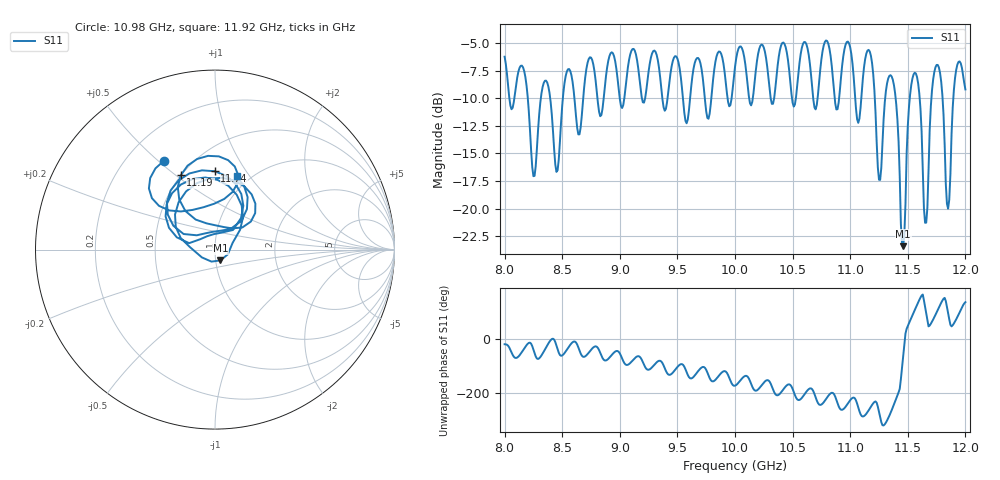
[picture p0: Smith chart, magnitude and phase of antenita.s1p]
!Keysight Technologies,N5224B,MY65189330,A.19.15.25
!Date: Monday, June 22, 2026 13:34:17
!Correction: S11(C  2-Port  )
!S1P File: Measurement: S11:
# Hz S  dB  R 50
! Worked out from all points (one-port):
!   401 points, 8 GHz to 12 GHz, reference 50 ohm
!   lowest |S11| = -23.4 dB at 11.46 GHz (marker M1), VSWR 1.14, Z = 52.8 - j6.39 ohm
!   |S11| at or under -10 dB: 8.201 GHz to 8.315 GHz (113.4 MHz wide, 1.37 % of centre); 8.396 GHz to 8.506 GHz (110.2 MHz wide, 1.3 % of centre); 11.39 GHz to 11.52 GHz (122.8 MHz wide, 1.07 % of centre)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
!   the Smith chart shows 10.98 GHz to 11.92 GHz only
!   S11 on the Smith chart (normalised r, x): 10.98 GHz: 0.36, +0.52; 11.19 GHz: 0.50, +0.52; 11.74 GHz: 0.68, +0.73; 11.92 GHz: 0.87, +0.87
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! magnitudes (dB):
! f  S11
! 8 GHz  -6.2
! 8.17 GHz  -7.5
! 8.25 GHz  -17.1
! 8.34 GHz  -8.6
! 8.45 GHz  -16.7
! 8.5 GHz  -10.7
! 9 GHz  -10.1
! 9.5 GHz  -6.4
! 9.58 GHz  -12.3
! 10 GHz  -7.2
! 10.42 GHz  -5.0
! 10.5 GHz  -10.4
! 10.79 GHz  -4.8
! 10.89 GHz  -11.0
! 10.98 GHz  -4.9
! 11 GHz  -5.4
! 11.07 GHz  -12.2
! 11.19 GHz  -6.8
! 11.25 GHz  -17.4
! 11.38 GHz  -8.8
! 11.46 GHz  -23.4
! 11.5 GHz  -12.5
! 11.58 GHz  -8.1
! 11.66 GHz  -21.3
! 11.74 GHz  -7.2
! 11.85 GHz  -20.0
! 11.92 GHz  -7.4
! 12 GHz  -9.2
